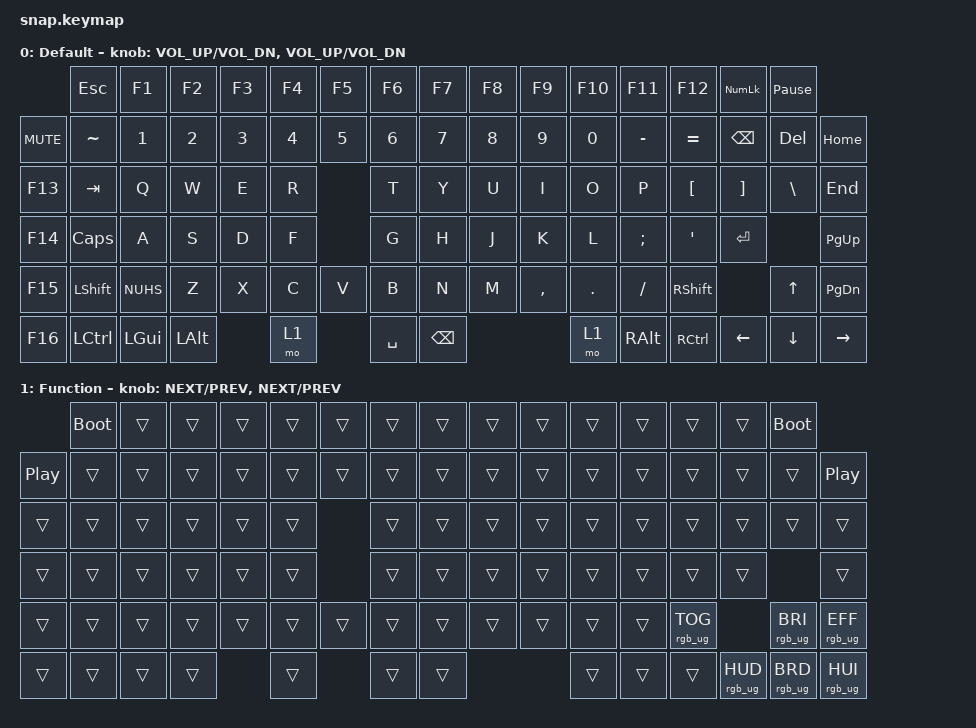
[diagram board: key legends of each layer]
/*
 * Copyright (c) 2022 The ZMK Contributors
 *
 * SPDX-License-Identifier: MIT
 */

#include <behaviors.dtsi>
#include <dt-bindings/zmk/params.h>

/ {
    sensors: sensors {
        compatible = "zmk,keymap-sensors";
        sensors = <&left_encoder &right_encoder>;
        triggers-per-rotation = <20>;
    };

    keymap {
        compatible = "zmk,keymap";

        default_layer {
            display-name = "Default";
            sensor-bindings = <&inc_dec_kp C_VOL_UP C_VOL_DN &inc_dec_kp C_VOL_UP C_VOL_DN>;
            bindings = <
             &kp ESC     &kp F1   &kp F2   &kp F3   &kp F4   &kp F5   &kp F6     &kp F7   &kp F8   &kp F9    &kp F10  &kp F11     &kp F12     &kp KP_NUM   &kp PAUSE_BREAK
&kp C_MUTE   &kp TILDE   &kp N1   &kp N2   &kp N3   &kp N4   &kp N5   &kp N6     &kp N7   &kp N8   &kp N9    &kp N0   &kp MINUS   &kp EQUAL   &kp BSPC     &kp DEL    &kp HOME
&kp F13      &kp TAB     &kp Q    &kp W    &kp E    &kp R             &kp T      &kp Y    &kp U    &kp I     &kp O    &kp P       &kp LBKT    &kp RBKT     &kp BSLH   &kp END
&kp F14      &kp CLCK    &kp A    &kp S    &kp D    &kp F             &kp G      &kp H    &kp J    &kp K     &kp L    &kp SEMI    &kp SQT     &kp RET                 &kp PG_UP
&kp F15      &kp LSHFT   &kp NUHS &kp Z    &kp X    &kp C    &kp V    &kp B      &kp N    &kp M    &kp COMMA &kp DOT  &kp FSLH    &kp RSHFT                &kp UP     &kp PG_DN
&kp F16      &kp LCTRL   &kp LGUI &kp LALT          &mo 1            &kp SPACE    &kp BSPC                   &mo 1    &kp RALT    &kp RCTRL   &kp LEFT     &kp DOWN   &kp RIGHT
            >;
        };

        function_layer {
            display-name = "Function";
            sensor-bindings = <&inc_dec_kp C_NEXT C_PREV &inc_dec_kp C_NEXT C_PREV>;
            bindings = <
             &bootloader &trans   &trans   &trans   &trans   &trans   &trans     &trans   &trans   &trans   &trans    &trans      &trans      &trans       &bootloader
&kp C_PP     &trans      &trans   &trans   &trans   &trans   &trans   &trans     &trans   &trans   &trans   &trans    &trans      &trans      &trans       &trans     &kp C_PP
&trans       &trans      &trans   &trans   &trans   &trans            &trans     &trans   &trans   &trans   &trans    &trans      &trans      &trans       &trans     &trans
&trans       &trans      &trans   &trans   &trans   &trans            &trans     &trans   &trans   &trans   &trans    &trans      &trans                   &trans     &trans
&trans       &trans      &trans   &trans   &trans   &trans   &trans   &trans     &trans   &trans   &trans   &trans    &trans          &rgb_ug RGB_TOG &rgb_ug RGB_BRI &rgb_ug RGB_EFF
&trans       &trans      &trans   &trans            &trans           &trans       &trans                    &trans    &trans  &trans  &rgb_ug RGB_HUD &rgb_ug RGB_BRD &rgb_ug RGB_HUI
            >;
        };
    };
};
